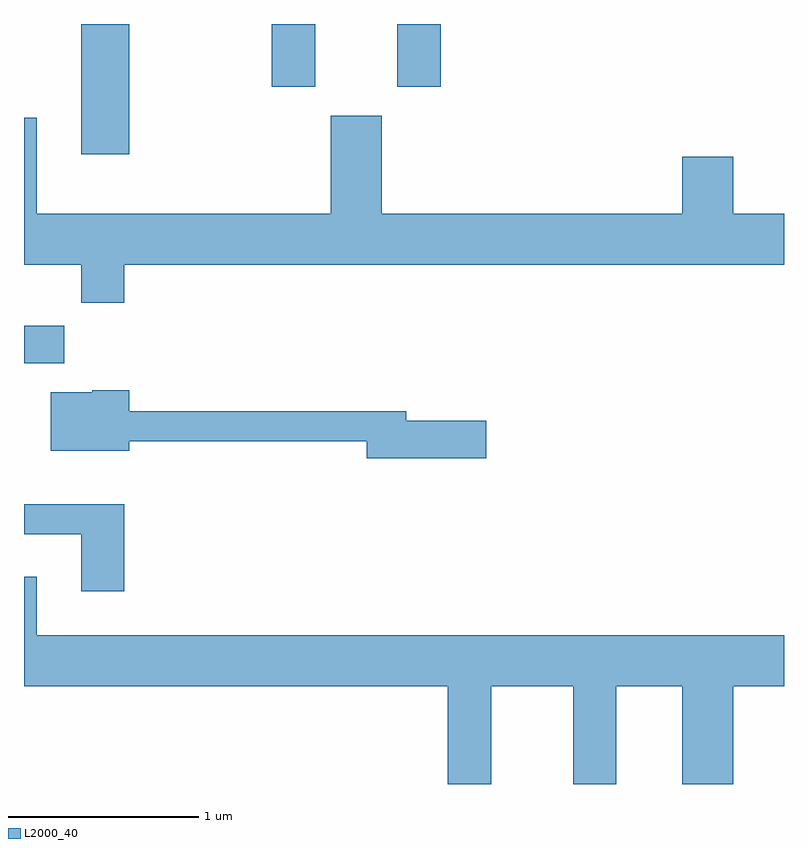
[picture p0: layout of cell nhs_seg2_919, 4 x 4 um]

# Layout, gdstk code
import gdstk
lib = gdstk.Library(unit=1e-6, precision=1e-09)
def R(c, l, rs):  # rectangles x0, y0, x1, y1
    for r in rs: c.add(gdstk.rectangle(r[:2], r[2:], *l))
def P(c, l, *ps):  # polygons
    for p in ps: c.add(gdstk.Polygon(p, *l))
L2000_40 = (2000, 40)

nhs_seg2_919 = lib.new_cell('nhs_seg2_919')
R(nhs_seg2_919, L2000_40, [(211.611,1050.016,211.824,1050.214), (211.911,1051.116,212.164,1051.802), (212.916,1051.471,213.144,1051.802), (213.576,1051.471,213.804,1051.802)])
P(nhs_seg2_919, L2000_40, [(212.139,1050.536),(215.611,1050.536),(215.611,1050.804),(215.344,1050.804),(215.344,1051.104),(215.076,1051.104),(215.076,1050.804),(213.494,1050.804),(213.494,1051.319),(213.226,1051.319),(213.226,1050.804),(211.679,1050.804),(211.679,1051.309),(211.611,1051.309),(211.611,1050.536),(211.911,1050.536),(211.911,1050.336),(212.139,1050.336)],
  [(214.044,1049.714),(213.624,1049.714),(213.624,1049.764),(212.164,1049.764),(212.164,1049.874),(211.97,1049.874),(211.97,1049.864),(211.751,1049.864),(211.751,1049.556),(212.164,1049.556),(212.164,1049.606),(213.416,1049.606),(213.416,1049.516),(214.044,1049.516)],
  [(212.139,1049.274),(211.611,1049.274),(211.611,1049.116),(211.911,1049.116),(211.911,1048.816),(212.139,1048.816)],
  [(214.069,1048.316),(214.501,1048.316),(214.501,1047.802),(214.729,1047.802),(214.729,1048.316),(215.076,1048.316),(215.076,1047.802),(215.344,1047.802),(215.344,1048.316),(215.611,1048.316),(215.611,1048.584),(211.679,1048.584),(211.679,1048.894),(211.611,1048.894),(211.611,1048.316),(213.841,1048.316),(213.841,1047.802),(214.069,1047.802)])

lib.write_gds('nhs_seg2_919.gds')
